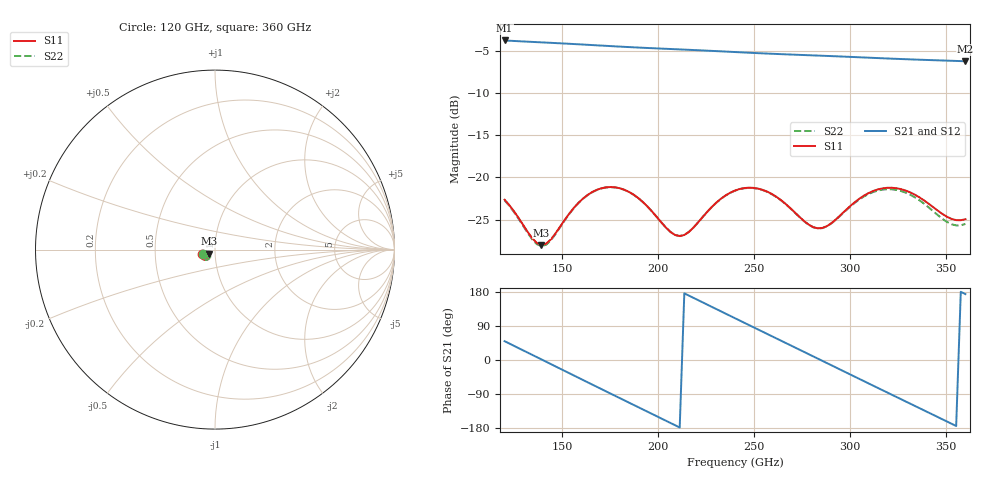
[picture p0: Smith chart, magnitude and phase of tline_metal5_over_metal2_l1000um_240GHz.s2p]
#  GHZ S DB R 50
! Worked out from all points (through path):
!   101 points, 120 GHz to 360 GHz, reference 50 ohm
!   highest |S21| = -3.81 dB at 120 GHz (marker M1); lowest = -6.3 dB at 360 GHz (marker M2)
!   group delay of S21, straight-line fit = 6.89 ps
!   lowest |S11| = -28.0 dB at 139.2 GHz (marker M3), VSWR 1.08, Z = 46.8 - j2.11 ohm
!   |S11| at or under -10 dB: start of sweep to end of sweep
!   |S22| runs from -28.1 to -21.2 dB; largest |S21 - S12| = 9.2e-15
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120  -22.65 -161.3  -3.81 49.6  -3.81 49.6  -22.73 -162.1
129.6  -25.61 -164.7  -3.92 25.6  -3.92 25.6  -25.72 -165.4
139.2  -27.99 -145.7  -4.03 1.5  -4.03 1.5  -28.14 -145.8
148.8  -25.86 -125.6  -4.14 -22.6  -4.14 -22.6  -25.94 -125.4
160.8  -22.51 -129.6  -4.29 -52.7  -4.29 -52.7  -22.54 -129.5
170.4  -21.29 -141.7  -4.41 -76.7  -4.41 -76.7  -21.31 -141.6
180  -21.29 -154.9  -4.53 -100.6  -4.53 -100.6  -21.30 -154.9
189.6  -22.45 -166.0  -4.64 -124.5  -4.64 -124.5  -22.46 -166.0
201.6  -25.32 -168.5  -4.77 -154.3  -4.77 -154.3  -25.32 -168.5
211.2  -26.95 -152.4  -4.86 -178.1  -4.86 -178.1  -26.93 -152.5
218.4  -25.93 -138.8  -4.94 163.9  -4.94 163.9  -25.93 -139.0
240  -21.56 -145.2  -5.18 110.2  -5.18 110.2  -21.58 -145.5
249.6  -21.24 -156.4  -5.28 86.5  -5.28 86.5  -21.27 -156.6
259.2  -21.97 -166.5  -5.38 62.8  -5.38 62.8  -22.00 -166.7
271.2  -24.16 -171.2  -5.49 33.1  -5.49 33.1  -24.18 -171.5
280.8  -25.90 -161.7  -5.57 9.4  -5.57 9.4  -25.91 -162.1
297.6  -23.90 -141.5  -5.73 -32.2  -5.73 -32.2  -23.96 -142.3
309.6  -21.85 -146.8  -5.84 -61.9  -5.84 -61.9  -21.97 -147.8
321.6  -21.23 -158.3  -5.96 -91.4  -5.96 -91.4  -21.42 -159.5
331.2  -21.77 -167.0  -6.04 -115.1  -6.04 -115.1  -22.05 -168.3
343.2  -23.52 -171.3  -6.14 -144.6  -6.14 -144.6  -24.00 -172.4
360  -24.95 -155.1  -6.27 174.0  -6.27 174.0  -25.51 -153.1
